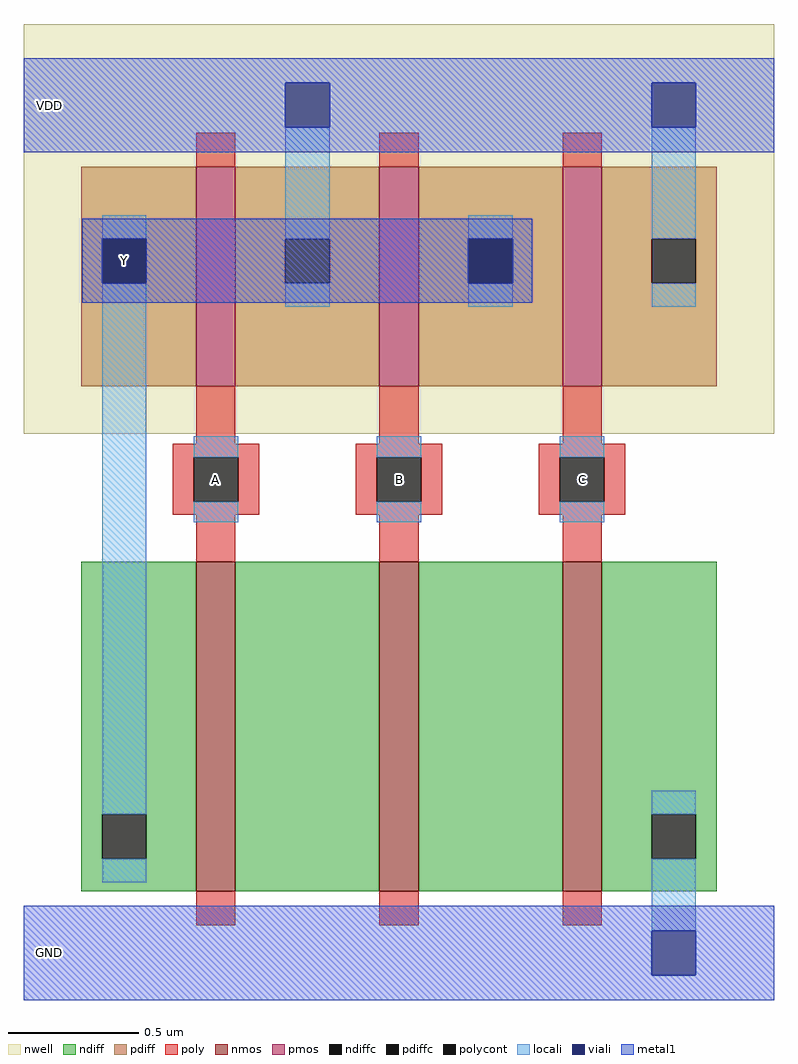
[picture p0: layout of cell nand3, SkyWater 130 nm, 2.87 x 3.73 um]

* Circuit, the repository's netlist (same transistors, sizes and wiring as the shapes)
.subckt nand3 a b c y vdd vss
XXP1 y a vdd vdd sky130_fd_pr__pfet_01v8 L=0.15 W=0.84 nf=1 m=1
XXP2 y b vdd vdd sky130_fd_pr__pfet_01v8 L=0.15 W=0.84 nf=1 m=1
XXP3 y c vdd vdd sky130_fd_pr__pfet_01v8 L=0.15 W=0.84 nf=1 m=1
XXN1 y a n1 vss sky130_fd_pr__nfet_01v8 L=0.15 W=1.26 nf=1 m=1
XXN2 n1 b n2 vss sky130_fd_pr__nfet_01v8 L=0.15 W=1.26 nf=1 m=1
XXN3 n2 c vss vss sky130_fd_pr__nfet_01v8 L=0.15 W=1.26 nf=1 m=1
.ends

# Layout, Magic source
magic
tech sky130A
magscale 1 2
<< nwell >>
rect 0 397 574 710
<< nmos >>
rect 132 47 162 299
rect 272 47 302 299
rect 412 47 442 299
<< pmos >>
rect 132 433 162 601
rect 272 433 302 601
rect 412 433 442 601
<< ndiff >>
rect 44 106 132 299
rect 44 72 60 106
rect 94 72 132 106
rect 44 47 132 72
rect 162 47 272 299
rect 302 47 412 299
rect 442 106 530 299
rect 442 72 480 106
rect 514 72 530 106
rect 442 47 530 72
<< pdiff >>
rect 44 546 132 601
rect 44 512 60 546
rect 94 512 132 546
rect 44 433 132 512
rect 162 546 272 601
rect 162 512 200 546
rect 234 512 272 546
rect 162 433 272 512
rect 302 546 412 601
rect 302 512 340 546
rect 374 512 412 546
rect 302 433 412 512
rect 442 546 530 601
rect 442 512 480 546
rect 514 512 530 546
rect 442 433 530 512
<< ndiffc >>
rect 60 72 94 106
rect 480 72 514 106
<< pdiffc >>
rect 60 512 94 546
rect 200 512 234 546
rect 340 512 374 546
rect 480 512 514 546
<< poly >>
rect 132 601 162 627
rect 272 601 302 627
rect 412 601 442 627
rect 132 389 162 433
rect 272 389 302 433
rect 412 389 442 433
rect 114 379 180 389
rect 114 345 130 379
rect 164 345 180 379
rect 114 335 180 345
rect 254 379 320 389
rect 254 345 270 379
rect 304 345 320 379
rect 254 335 320 345
rect 394 379 460 389
rect 394 345 410 379
rect 444 345 460 379
rect 394 335 460 345
rect 132 299 162 335
rect 272 299 302 335
rect 412 299 442 335
rect 132 21 162 47
rect 272 21 302 47
rect 412 21 442 47
<< polycont >>
rect 130 345 164 379
rect 270 345 304 379
rect 410 345 444 379
<< locali >>
rect 60 546 94 564
rect 60 106 94 512
rect 200 546 234 631
rect 200 494 234 512
rect 340 546 374 564
rect 340 494 374 512
rect 480 546 514 631
rect 480 494 514 512
rect 130 379 164 395
rect 130 329 164 345
rect 270 379 304 395
rect 270 329 304 345
rect 410 379 444 395
rect 410 329 444 345
rect 60 54 94 72
rect 480 106 514 124
rect 480 17 514 72
<< viali >>
rect 200 631 234 665
rect 60 512 94 546
rect 480 631 514 665
rect 340 512 374 546
rect 480 -17 514 17
<< metal1 >>
rect 0 665 574 684
rect 0 631 200 665
rect 234 631 480 665
rect 514 631 574 665
rect 0 612 574 631
rect 45 546 389 561
rect 45 512 60 546
rect 94 512 340 546
rect 374 512 389 546
rect 45 497 389 512
rect 0 17 574 36
rect 0 -17 480 17
rect 514 -17 574 17
rect 0 -36 574 -17
<< labels >>
rlabel polycont 147 362 147 362 0 A
port 1 nsew
rlabel polycont 287 362 287 362 0 B
port 2 nsew
rlabel polycont 427 362 427 362 0 C
port 3 nsew
rlabel viali 77 529 77 529 0 Y
port 4 nsew
rlabel metal1 20 648 20 648 0 VDD
port 5 nsew
rlabel metal1 20 0 20 0 0 GND
port 6 nsew
<< end >>
